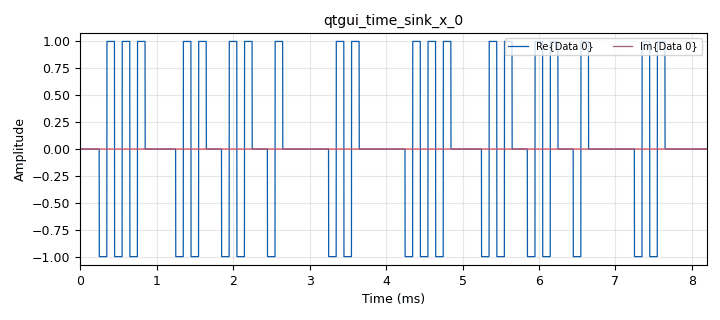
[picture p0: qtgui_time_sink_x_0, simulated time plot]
options:
  parameters:
    generate_options: qt_gui
    id: pluto
    output_language: python
    title: Not titled yet
  states: {}

blocks:
- name: center_freq
  id: variable
  parameters:
    value: int(915.8e6)
  states: {}
- name: samp_rate
  id: variable
  parameters:
    value: int(1e6)
  states: {}
- name: sps
  id: variable
  parameters:
    value: '100'
  states: {}
- name: tx_atten
  id: variable_qtgui_range
  parameters:
    start: '0'
    step: '1'
    stop: '70'
    value: '10'
  states: {}
- name: blocks_repeat_0
  id: blocks_repeat
  parameters:
    interp: sps
    type: complex
  states: {}
- name: blocks_vector_source_x_0
  id: blocks_vector_source_x
  parameters:
    repeat: 'True'
    type: byte
    vector: (0, 1, 0, 1,1,1,0,0,1,1,1,0,0,0,1,1,0,0,1,0)
  states: {}
- name: digital_chunks_to_symbols_xx_0
  id: digital_chunks_to_symbols_xx
  parameters:
    dimension: '2'
    in_type: byte
    out_type: complex
    symbol_table: (-1,1)
  states: {}
- name: iio_pluto_sink_0
  id: iio_pluto_sink
  parameters:
    attenuation1: tx_atten
    bandwidth: '20000000'
    buffer_size: '32768'
    cyclic: 'False'
    filter_source: '''Auto'''
    frequency: center_freq
    samplerate: samp_rate
    type: fc32
    uri: 192.168.2.1
  states: {}
- name: qtgui_time_sink_x_0
  id: qtgui_time_sink_x
  parameters:
    size: 1024*8
    srate: samp_rate
    type: complex
  states: {}

connections:
- [blocks_repeat_0, '0', iio_pluto_sink_0, '0']
- [blocks_repeat_0, '0', qtgui_time_sink_x_0, '0']
- [blocks_vector_source_x_0, '0', digital_chunks_to_symbols_xx_0, '0']
- [digital_chunks_to_symbols_xx_0, '0', blocks_repeat_0, '0']

metadata:
  file_format: 1
  grc_version: 3.10.7.0
